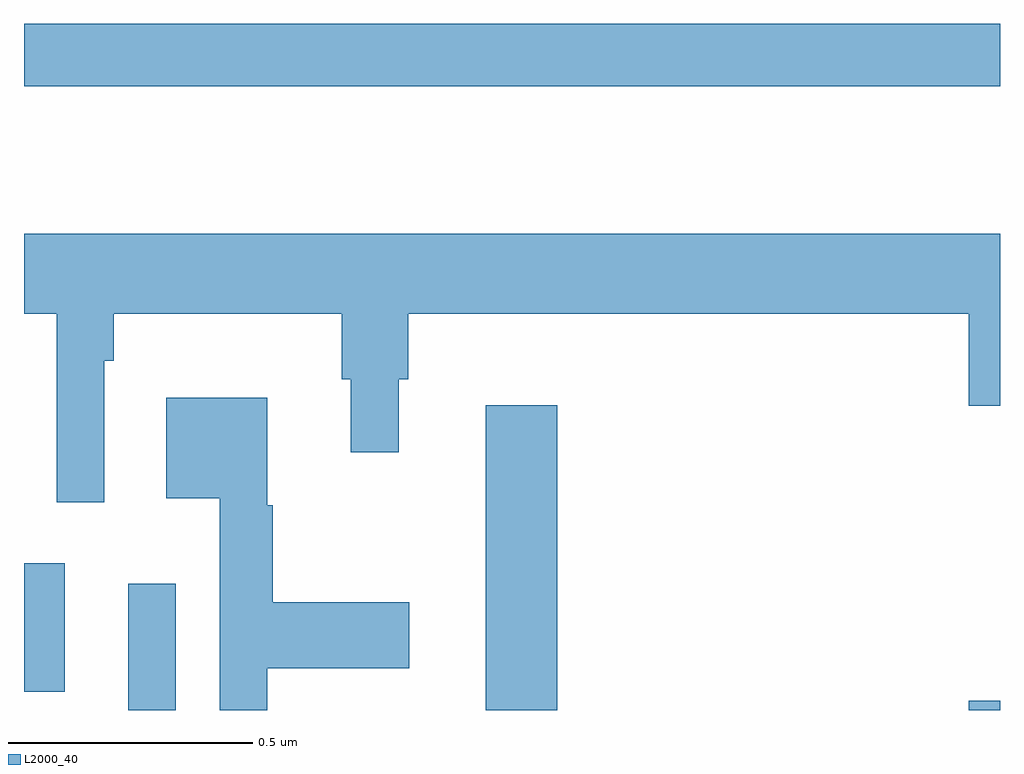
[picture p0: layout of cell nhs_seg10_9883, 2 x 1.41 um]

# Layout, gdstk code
import gdstk
lib = gdstk.Library(unit=1e-6, precision=1e-09)
def R(c, l, rs):  # rectangles x0, y0, x1, y1
    for r in rs: c.add(gdstk.rectangle(r[:2], r[2:], *l))
def P(c, l, *ps):  # polygons
    for p in ps: c.add(gdstk.Polygon(p, *l))
L2000_40 = (2000, 40)

nhs_seg10_9883 = lib.new_cell('nhs_seg10_9883')
R(nhs_seg10_9883, L2000_40, [(235.214,1303.5,235.311,1303.759), (235.946,1303.5,236.093,1304.125), (236.936,1303.5,237,1303.519), (235,1303.538,235.084,1303.801), (235,1304.778,237,1304.906)])
P(nhs_seg10_9883, L2000_40, [(235,1304.312),(235.067,1304.312),(235.067,1303.926),(235.164,1303.926),(235.164,1304.216),(235.184,1304.216),(235.184,1304.312),(235.651,1304.312),(235.651,1304.178),(235.67,1304.178),(235.67,1304.028),(235.768,1304.028),(235.768,1304.178),(235.787,1304.178),(235.787,1304.312),(236.936,1304.312),(236.936,1304.124),(237,1304.124),(237,1304.476),(235,1304.476)],
  [(235.498,1303.586),(235.789,1303.586),(235.789,1303.721),(235.51,1303.721),(235.51,1303.92),(235.498,1303.92),(235.498,1304.14),(235.292,1304.14),(235.292,1303.934),(235.401,1303.934),(235.401,1303.5),(235.498,1303.5)])

lib.write_gds('nhs_seg10_9883.gds')
